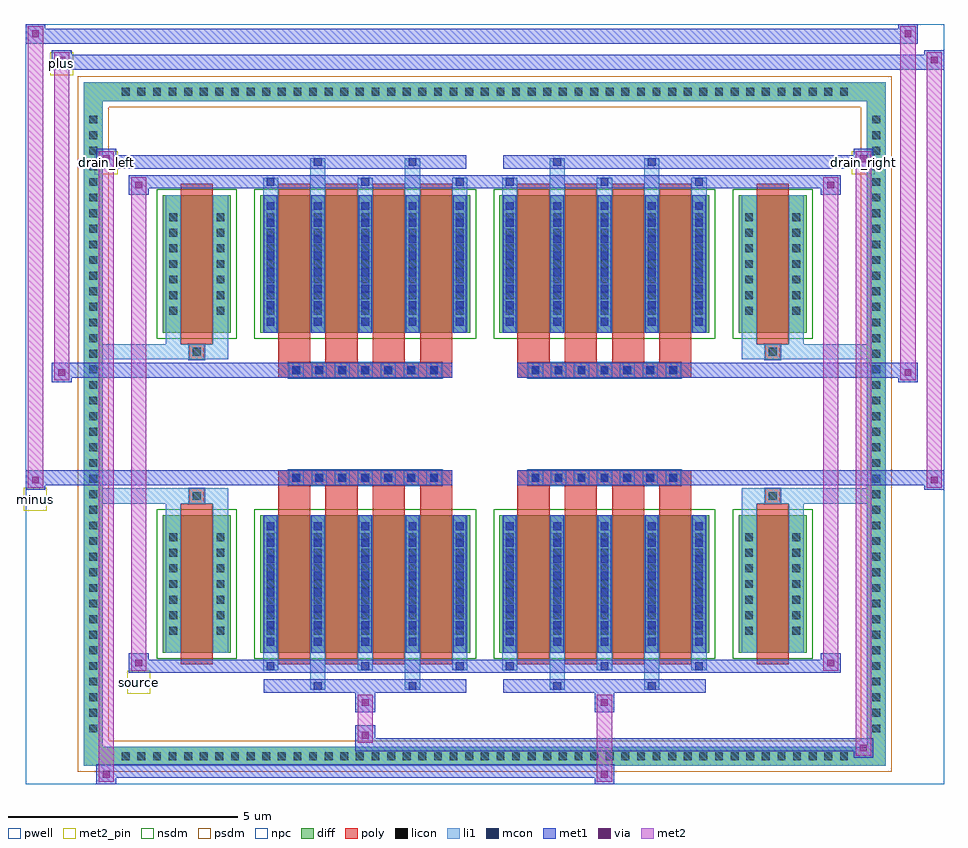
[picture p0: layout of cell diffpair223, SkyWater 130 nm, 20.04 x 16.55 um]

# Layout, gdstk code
import gdstk
lib = gdstk.Library(unit=1e-6, precision=5e-09)
def R(c, l, rs):  # rectangles x0, y0, x1, y1
    for r in rs: c.add(gdstk.rectangle(r[:2], r[2:], *l))
def A(c, l, x, y, w, h, nx, ny, dx, dy):  # array of equal rectangles
    R(c, l, [(x+i*dx, y+j*dy, x+i*dx+w, y+j*dy+h) for i in range(nx) for j in range(ny)])
def P(c, l, *ps):  # polygons
    for p in ps: c.add(gdstk.Polygon(p, *l))
pwell = (64, 44)
diff = (65, 20)
poly = (66, 20)
licon = (66, 44)
li1 = (67, 20)
mcon = (67, 44)
met1 = (68, 20)
via = (68, 44)
met2_pin = (69, 16)
met2 = (69, 20)
nsdm = (93, 44)
psdm = (94, 20)
npc = (95, 20)

diffpair223 = lib.new_cell('diffpair223')
R(diffpair223, pwell, [(-10,-7.84,10,8.71), (-7.32,-6.03,-0.01,-0.805), (0.01,-6.03,7.32,-0.805), (-7.32,0.805,-0.01,6.03), (0.01,0.805,7.32,6.03)])
A(diffpair223, diff, -8.025, -7.44, 0.41, 0.41, 47, 2, 0.34, 14.47)
A(diffpair223, diff, -8.73, -6.835, 0.41, 0.41, 1, 40, 0, 0.34)
A(diffpair223, diff, 8.32, -6.835, 0.41, 0.41, 1, 40, 0, 0.34)
R(diffpair223, diff, [(-8.025,-7.44,8.025,-7.03), (-8.73,-6.835,-8.32,6.835), (8.32,-6.835,8.73,6.835), (-7.01,-4.985,-5.53,-1.985), (-4.89,-4.985,-0.32,-1.985), (0.32,-4.985,4.89,-1.985), (5.53,-4.985,7.01,-1.985), (-7.01,1.985,-5.53,4.985), (-4.89,1.985,-0.32,4.985), (0.32,1.985,4.89,4.985), (5.53,1.985,7.01,4.985), (-8.025,7.03,8.025,7.44)])
P(diffpair223, diff, [(8.73,7.44),(-8.73,7.44),(-8.73,-7.03),(-8.32,-7.03),(-8.32,7.03),(8.32,7.03),(8.32,-7.03),(-8.32,-7.03),(-8.73,-7.03),(-8.73,-7.44),(8.73,-7.44)])
A(diffpair223, poly, -4.5, -5.235, 0.7, 3.5, 4, 2, 1.03, 6.97)
A(diffpair223, poly, 0.71, -5.235, 0.7, 3.5, 4, 2, 1.03, 6.97)
A(diffpair223, poly, -4.5, -1.735, 0.7, 0.4, 4, 2, 1.03, 3.07)
A(diffpair223, poly, 0.71, -1.735, 0.7, 0.4, 4, 2, 1.03, 3.07)
A(diffpair223, poly, -4.27, -1.335, 0.33, 0.33, 7, 2, 0.5, 2.34)
A(diffpair223, poly, 0.94, -1.335, 0.33, 0.33, 7, 2, 0.5, 2.34)
R(diffpair223, poly, [(-6.62,-5.235,-5.92,-1.735), (5.92,-5.235,6.62,-1.735), (-6.435,-1.735,-6.105,-1.405), (-6.435,-1.735,-6.105,-1.405), (6.105,-1.735,6.435,-1.405), (6.105,-1.735,6.435,-1.405), (-4.5,-1.335,-0.71,-1.005), (0.71,-1.335,4.5,-1.005), (-4.5,1.005,-0.71,1.335), (0.71,1.005,4.5,1.335), (-6.435,1.405,-6.105,1.735), (-6.435,1.405,-6.105,1.735), (6.105,1.405,6.435,1.735), (6.105,1.405,6.435,1.735), (-6.62,1.735,-5.92,5.235), (5.92,1.735,6.62,5.235)])
A(diffpair223, licon, -7.905, -7.32, 0.17, 0.17, 47, 2, 0.34, 14.47)
A(diffpair223, licon, -8.61, -6.715, 0.17, 0.17, 1, 40, 0, 0.34)
A(diffpair223, licon, 8.44, -6.715, 0.17, 0.17, 1, 40, 0, 0.34)
A(diffpair223, licon, -6.87, -4.59, 0.17, 0.17, 1, 7, 0, 0.34)
A(diffpair223, licon, -5.84, -4.59, 0.17, 0.17, 1, 7, 0, 0.34)
A(diffpair223, licon, -4.75, -4.59, 0.17, 0.17, 5, 7, 1.03, 0.34)
A(diffpair223, licon, 0.46, -4.59, 0.17, 0.17, 5, 7, 1.03, 0.34)
A(diffpair223, licon, 5.67, -4.59, 0.17, 0.17, 1, 7, 0, 0.34)
A(diffpair223, licon, 6.7, -4.59, 0.17, 0.17, 1, 7, 0, 0.34)
A(diffpair223, licon, -4.19, -1.255, 0.17, 0.17, 7, 2, 0.5, 2.34)
A(diffpair223, licon, 1.02, -1.255, 0.17, 0.17, 7, 2, 0.5, 2.34)
A(diffpair223, licon, -6.87, 2.38, 0.17, 0.17, 1, 7, 0, 0.34)
A(diffpair223, licon, -5.84, 2.38, 0.17, 0.17, 1, 7, 0, 0.34)
A(diffpair223, licon, -4.75, 2.38, 0.17, 0.17, 5, 7, 1.03, 0.34)
A(diffpair223, licon, 0.46, 2.38, 0.17, 0.17, 5, 7, 1.03, 0.34)
A(diffpair223, licon, 5.67, 2.38, 0.17, 0.17, 1, 7, 0, 0.34)
A(diffpair223, licon, 6.7, 2.38, 0.17, 0.17, 1, 7, 0, 0.34)
R(diffpair223, licon, [(-6.355,-1.655,-6.185,-1.485), (6.185,-1.655,6.355,-1.485), (-6.355,1.485,-6.185,1.655), (6.185,1.485,6.355,1.655)])
A(diffpair223, li1, -7.985, -7.4, 0.33, 0.33, 47, 2, 0.34, 14.47)
A(diffpair223, li1, -8.69, -6.795, 0.33, 0.33, 1, 40, 0, 0.34)
A(diffpair223, li1, 8.36, -6.795, 0.33, 0.33, 1, 40, 0, 0.34)
A(diffpair223, li1, -4.83, -5.36, 0.33, 0.375, 3, 2, 2.06, 10.345)
A(diffpair223, li1, -4.75, -5.36, 0.17, 0.17, 3, 2, 2.06, 10.55)
A(diffpair223, li1, 0.38, -5.36, 0.33, 0.375, 3, 2, 2.06, 10.345)
A(diffpair223, li1, 0.46, -5.36, 0.17, 0.17, 3, 2, 2.06, 10.55)
A(diffpair223, li1, -4.83, -4.985, 0.33, 3, 5, 2, 1.03, 6.97)
A(diffpair223, li1, 0.38, -4.985, 0.33, 3, 5, 2, 1.03, 6.97)
A(diffpair223, li1, -4.75, -4.83, 0.17, 0.17, 5, 8, 1.03, 0.36)
A(diffpair223, li1, -4.75, -4.83, 0.17, 2.69, 5, 2, 1.03, 6.97)
A(diffpair223, li1, 0.46, -4.83, 0.17, 0.17, 5, 8, 1.03, 0.36)
A(diffpair223, li1, 0.46, -4.83, 0.17, 2.69, 5, 2, 1.03, 6.97)
A(diffpair223, li1, -6.95, -4.67, 0.33, 0.33, 1, 7, 0, 0.34)
A(diffpair223, li1, -5.92, -4.67, 0.33, 0.33, 1, 7, 0, 0.34)
A(diffpair223, li1, -4.83, -4.67, 0.33, 0.33, 5, 7, 1.03, 0.34)
A(diffpair223, li1, 0.38, -4.67, 0.33, 0.33, 5, 7, 1.03, 0.34)
A(diffpair223, li1, 5.59, -4.67, 0.33, 0.33, 1, 7, 0, 0.34)
A(diffpair223, li1, 6.62, -4.67, 0.33, 0.33, 1, 7, 0, 0.34)
A(diffpair223, li1, -4.27, -1.335, 0.33, 0.33, 7, 2, 0.5, 2.34)
A(diffpair223, li1, 0.94, -1.335, 0.33, 0.33, 7, 2, 0.5, 2.34)
A(diffpair223, li1, -4.75, 2.14, 0.17, 0.17, 5, 8, 1.03, 0.36)
A(diffpair223, li1, 0.46, 2.14, 0.17, 0.17, 5, 8, 1.03, 0.36)
A(diffpair223, li1, -6.95, 2.3, 0.33, 0.33, 1, 7, 0, 0.34)
A(diffpair223, li1, -5.92, 2.3, 0.33, 0.33, 1, 7, 0, 0.34)
A(diffpair223, li1, -4.83, 2.3, 0.33, 0.33, 5, 7, 1.03, 0.34)
A(diffpair223, li1, 0.38, 2.3, 0.33, 0.33, 5, 7, 1.03, 0.34)
A(diffpair223, li1, 5.59, 2.3, 0.33, 0.33, 1, 7, 0, 0.34)
A(diffpair223, li1, 6.62, 2.3, 0.33, 0.33, 1, 7, 0, 0.34)
R(diffpair223, li1, [(-8.73,-7.44,-8.32,-7.03), (-8.73,-7.44,-8.32,-7.03), (-8.32,-7.44,8.32,-7.03), (8.32,-7.44,8.73,-7.03), (8.32,-7.44,8.73,-7.03), (-8.73,-7.03,-8.32,7.03), (8.32,-7.03,8.73,7.03), (-3.8,-5.79,-3.47,-4.985), (-3.72,-5.79,-3.55,-5.62), (-1.74,-5.79,-1.41,-4.985), (-1.66,-5.79,-1.49,-5.62), (1.41,-5.79,1.74,-4.985), (1.49,-5.79,1.66,-5.62), (3.47,-5.79,3.8,-4.985), (3.55,-5.79,3.72,-5.62), (-6.95,-4.985,-6.62,-1.985), (-5.92,-4.985,-5.59,-1.985), (5.59,-4.985,5.92,-1.985), (6.62,-4.985,6.95,-1.985), (-6.95,-1.985,-6.62,-1.405), (-5.92,-1.985,-5.59,-1.405), (5.59,-1.985,5.92,-1.405), (6.62,-1.985,6.95,-1.405), (-8.73,-1.735,-6.435,-1.405), (-6.95,-1.735,-6.435,-1.405), (-6.435,-1.735,-6.105,-1.405), (-6.105,-1.735,-5.59,-1.405), (5.59,-1.735,6.105,-1.405), (6.105,-1.735,6.435,-1.405), (6.105,-1.735,8.73,-1.405), (6.435,-1.735,6.95,-1.405), (-8.73,1.405,-6.435,1.735), (-6.95,1.405,-6.435,1.735), (-6.95,1.405,-6.62,1.985), (-6.435,1.405,-6.105,1.735), (-6.105,1.405,-5.59,1.735), (-5.92,1.405,-5.59,1.985), (5.59,1.405,6.105,1.735), (5.59,1.405,5.92,1.985), (6.105,1.405,6.435,1.735), (6.105,1.405,8.73,1.735), (6.435,1.405,6.95,1.735), (6.62,1.405,6.95,1.985), (-6.95,1.985,-6.62,4.985), (-5.92,1.985,-5.59,4.985), (5.59,1.985,5.92,4.985), (6.62,1.985,6.95,4.985), (-3.8,4.985,-3.47,5.79), (-1.74,4.985,-1.41,5.79), (1.41,4.985,1.74,5.79), (3.47,4.985,3.8,5.79), (-3.72,5.62,-3.55,5.79), (-1.66,5.62,-1.49,5.79), (1.49,5.62,1.66,5.79), (3.55,5.62,3.72,5.79), (-8.73,7.03,-8.32,7.44), (-8.73,7.03,-8.32,7.44), (-8.32,7.03,8.32,7.44), (8.32,7.03,8.73,7.44), (8.32,7.03,8.73,7.44)])
A(diffpair223, mcon, -4.75, -5.36, 0.17, 0.17, 3, 2, 2.06, 10.55)
A(diffpair223, mcon, 0.46, -5.36, 0.17, 0.17, 3, 2, 2.06, 10.55)
A(diffpair223, mcon, -4.75, -4.83, 0.17, 0.17, 5, 8, 1.03, 0.36)
A(diffpair223, mcon, 0.46, -4.83, 0.17, 0.17, 5, 8, 1.03, 0.36)
A(diffpair223, mcon, -4.19, -1.255, 0.17, 0.17, 7, 2, 0.5, 2.34)
A(diffpair223, mcon, 1.02, -1.255, 0.17, 0.17, 7, 2, 0.5, 2.34)
A(diffpair223, mcon, -4.75, 2.14, 0.17, 0.17, 5, 8, 1.03, 0.36)
A(diffpair223, mcon, 0.46, 2.14, 0.17, 0.17, 5, 8, 1.03, 0.36)
R(diffpair223, mcon, [(-3.72,-5.79,-3.55,-5.62), (-1.66,-5.79,-1.49,-5.62), (1.49,-5.79,1.66,-5.62), (3.55,-5.79,3.72,-5.62), (-3.72,5.62,-3.55,5.79), (-1.66,5.62,-1.49,5.79), (1.49,5.62,1.66,5.79), (3.55,5.62,3.72,5.79)])
A(diffpair223, met1, -4.81, -5.42, 0.29, 0.29, 3, 2, 2.06, 10.55)
A(diffpair223, met1, 0.4, -5.42, 0.29, 0.29, 3, 2, 2.06, 10.55)
A(diffpair223, met1, -4.81, -4.985, 0.29, 3, 5, 2, 1.03, 6.97)
A(diffpair223, met1, 0.4, -4.985, 0.29, 3, 5, 2, 1.03, 6.97)
A(diffpair223, met1, -4.81, -4.89, 0.29, 0.29, 5, 8, 1.03, 0.36)
A(diffpair223, met1, 0.4, -4.89, 0.29, 0.29, 5, 8, 1.03, 0.36)
A(diffpair223, met1, -4.25, -1.315, 0.29, 0.29, 7, 2, 0.5, 2.34)
A(diffpair223, met1, 0.96, -1.315, 0.29, 0.29, 7, 2, 0.5, 2.34)
A(diffpair223, met1, -4.81, 2.08, 0.29, 0.29, 5, 8, 1.03, 0.36)
A(diffpair223, met1, 0.4, 2.08, 0.29, 0.29, 5, 8, 1.03, 0.36)
R(diffpair223, met1, [(-8.46,-7.84,-8.03,-7.41), (2.39,-7.84,2.82,-7.41), (-8.46,-7.7,2.82,-7.41), (8.03,-7.27,8.46,-6.84), (-2.82,-7.13,8.46,-6.84), (-2.82,-6.99,-2.39,-6.56), (-2.82,-6.28,-2.39,-5.85), (2.39,-6.28,2.82,-5.85), (-4.81,-5.85,-0.4,-5.56), (-3.78,-5.85,-3.49,-5.56), (-1.72,-5.85,-1.43,-5.56), (0.4,-5.85,4.81,-5.56), (1.43,-5.85,1.72,-5.56), (3.49,-5.85,3.78,-5.56), (-7.75,-5.42,-7.32,-4.99), (-7.75,-5.42,-4.81,-5.13), (-4.81,-5.42,-0.4,-5.13), (-0.4,-5.42,0.4,-5.13), (0.4,-5.42,4.81,-5.13), (4.81,-5.42,7.75,-5.13), (7.32,-5.42,7.75,-4.99), (-10,-1.435,-9.57,-1.005), (9.57,-1.435,10,-1.005), (-10,-1.335,-0.71,-1.005), (-4.5,-1.335,-0.71,-1.005), (0.71,-1.335,4.5,-1.005), (0.71,-1.335,10,-1.005), (-9.43,0.905,-9,1.335), (9,0.905,9.43,1.335), (-9.43,1.005,-4.5,1.335), (-4.5,1.005,-0.71,1.335), (0.71,1.005,4.5,1.335), (4.5,1.005,9.43,1.335), (-7.75,4.99,-7.32,5.42), (7.32,4.99,7.75,5.42), (-7.75,5.13,-4.81,5.42), (-4.81,5.13,-0.4,5.42), (-0.4,5.13,0.4,5.42), (0.4,5.13,4.81,5.42), (4.81,5.13,7.75,5.42), (-8.46,5.56,-8.03,5.99), (-8.46,5.56,-4.81,5.85), (-4.81,5.56,-0.4,5.85), (-3.78,5.56,-3.49,5.85), (-1.72,5.56,-1.43,5.85), (0.4,5.56,4.81,5.85), (1.43,5.56,1.72,5.85), (3.49,5.56,3.78,5.85), (4.81,5.56,8.46,5.85), (8.03,5.56,8.46,5.99), (-9.43,7.71,-9,8.14), (-9.43,7.71,-7.32,8.04), (-7.32,7.71,7.32,8.04), (7.32,7.71,10,8.04), (9.57,7.71,10,8.14), (-10,8.28,-9.57,8.71), (-10,8.28,-7.32,8.61), (-7.32,8.28,7.32,8.61), (7.32,8.28,9.43,8.61), (9,8.28,9.43,8.71)])
R(diffpair223, via, [(-8.32,-7.7,-8.17,-7.55), (2.53,-7.7,2.68,-7.55), (8.17,-7.13,8.32,-6.98), (-2.68,-6.85,-2.53,-6.7), (-2.68,-6.14,-2.53,-5.99), (2.53,-6.14,2.68,-5.99), (-7.61,-5.28,-7.46,-5.13), (7.46,-5.28,7.61,-5.13), (-9.86,-1.295,-9.71,-1.145), (9.71,-1.295,9.86,-1.145), (-9.29,1.045,-9.14,1.195), (9.14,1.045,9.29,1.195), (-7.61,5.13,-7.46,5.28), (7.46,5.13,7.61,5.28), (-8.32,5.7,-8.17,5.85), (8.17,5.7,8.32,5.85), (-9.29,7.85,-9.14,8), (9.71,7.85,9.86,8), (-9.86,8.42,-9.71,8.57), (9.14,8.42,9.29,8.57)])
R(diffpair223, met2_pin, [(-7.785,-5.87,-7.285,-5.37), (-10.035,-1.885,-9.535,-1.385), (-8.495,5.44,-7.995,5.94), (7.995,5.44,8.495,5.94), (-9.465,7.59,-8.965,8.09)])
R(diffpair223, met2, [(-8.41,-7.79,-8.08,-7.46), (-8.41,-7.79,-8.08,5.94), (2.44,-7.79,2.77,-7.46), (2.44,-7.46,2.77,-6.23), (8.08,-7.22,8.41,-6.89), (8.08,-7.22,8.41,5.94), (-2.77,-6.94,-2.44,-6.61), (-2.77,-6.61,-2.44,-6.23), (-2.77,-6.23,-2.44,-5.9), (2.44,-6.23,2.77,-5.9), (-7.7,-5.37,-7.37,-5.04), (-7.7,-5.37,-7.37,5.37), (7.37,-5.37,7.7,-5.04), (7.37,-5.37,7.7,5.37), (-9.95,-1.385,-9.62,-1.055), (-9.95,-1.385,-9.62,8.66), (9.62,-1.385,9.95,-1.055), (9.62,-1.385,9.95,8.09), (-9.38,0.955,-9.05,1.285), (-9.38,0.955,-9.05,8.09), (9.05,0.955,9.38,1.285), (9.05,0.955,9.38,8.66), (-7.7,5.04,-7.37,5.37), (7.37,5.04,7.7,5.37), (-8.41,5.61,-8.08,5.94), (8.08,5.61,8.41,5.94), (-9.38,7.76,-9.05,8.09), (9.62,7.76,9.95,8.09), (-9.95,8.33,-9.62,8.66), (9.05,8.33,9.38,8.66)])
P(diffpair223, met2, [(9.95,-1.385),(9.95,-1.385),(9.95,-1.055),(9.95,-1.055)],
  [(9.95,7.76),(9.95,7.76),(9.95,8.09),(9.95,8.09)],
  [(-9.62,-1.385),(-9.62,-1.385),(-9.62,-1.055),(-9.62,-1.055)],
  [(-9.62,8.33),(-9.62,8.33),(-9.62,8.66),(-9.62,8.66)],
  [(9.38,0.955),(9.38,0.955),(9.38,1.285),(9.38,1.285)],
  [(9.38,8.33),(9.38,8.33),(9.38,8.66),(9.38,8.66)],
  [(-9.05,0.955),(-9.05,0.955),(-9.05,1.285),(-9.05,1.285)],
  [(-9.05,7.76),(-9.05,7.76),(-9.05,8.09),(-9.05,8.09)],
  [(-8.08,-7.79),(-8.08,-7.79),(-8.08,-7.46),(-8.08,-7.46)],
  [(-8.08,5.61),(-8.08,5.61),(-8.08,5.94),(-8.08,5.94)],
  [(8.41,-7.22),(8.41,-7.22),(8.41,-6.89),(8.41,-6.89)],
  [(8.41,5.61),(8.41,5.61),(8.41,5.94),(8.41,5.94)],
  [(-7.37,-5.37),(-7.37,-5.37),(-7.37,-5.04),(-7.37,-5.04)],
  [(-7.37,5.04),(-7.37,5.04),(-7.37,5.37),(-7.37,5.37)],
  [(7.7,-5.37),(7.7,-5.37),(7.7,-5.04),(7.7,-5.04)],
  [(7.7,5.04),(7.7,5.04),(7.7,5.37),(7.7,5.37)])
R(diffpair223, nsdm, [(-7.14,-5.115,-5.4,-1.855), (-5.02,-5.115,-0.19,-1.855), (0.19,-5.115,5.02,-1.855), (5.4,-5.115,7.14,-1.855), (-7.14,1.855,-5.4,5.115), (-5.02,1.855,-0.19,5.115), (0.19,1.855,5.02,5.115), (5.4,1.855,7.14,5.115)])
P(diffpair223, psdm, [(8.86,7.57),(-8.86,7.57),(-8.86,-6.9),(-8.19,-6.9),(-8.19,6.9),(8.19,6.9),(8.19,-6.9),(-8.19,-6.9),(-8.86,-6.9),(-8.86,-7.57),(8.86,-7.57)])
A(diffpair223, npc, -4.29, -1.355, 0.37, 0.37, 7, 2, 0.5, 2.34)
A(diffpair223, npc, 0.92, -1.355, 0.37, 0.37, 7, 2, 0.5, 2.34)
R(diffpair223, npc, [(-6.455,-1.755,-6.085,-1.385), (6.085,-1.755,6.455,-1.385), (-4.29,-1.355,-3.42,-0.985), (-4.29,-1.355,-3.42,-0.985), (-3.79,-1.355,-2.92,-0.985), (-3.79,-1.355,-2.92,-0.985), (-3.29,-1.355,-2.42,-0.985), (-3.29,-1.355,-2.42,-0.985), (-2.79,-1.355,-1.92,-0.985), (-2.79,-1.355,-1.92,-0.985), (-2.29,-1.355,-1.42,-0.985), (-2.29,-1.355,-1.42,-0.985), (-1.79,-1.355,-0.92,-0.985), (-1.79,-1.355,-0.92,-0.985), (0.92,-1.355,1.79,-0.985), (0.92,-1.355,1.79,-0.985), (1.42,-1.355,2.29,-0.985), (1.42,-1.355,2.29,-0.985), (1.92,-1.355,2.79,-0.985), (1.92,-1.355,2.79,-0.985), (2.42,-1.355,3.29,-0.985), (2.42,-1.355,3.29,-0.985), (2.92,-1.355,3.79,-0.985), (2.92,-1.355,3.79,-0.985), (3.42,-1.355,4.29,-0.985), (3.42,-1.355,4.29,-0.985), (-4.29,0.985,-3.42,1.355), (-4.29,0.985,-3.42,1.355), (-3.79,0.985,-2.92,1.355), (-3.79,0.985,-2.92,1.355), (-3.29,0.985,-2.42,1.355), (-3.29,0.985,-2.42,1.355), (-2.79,0.985,-1.92,1.355), (-2.79,0.985,-1.92,1.355), (-2.29,0.985,-1.42,1.355), (-2.29,0.985,-1.42,1.355), (-1.79,0.985,-0.92,1.355), (-1.79,0.985,-0.92,1.355), (0.92,0.985,1.79,1.355), (0.92,0.985,1.79,1.355), (1.42,0.985,2.29,1.355), (1.42,0.985,2.29,1.355), (1.92,0.985,2.79,1.355), (1.92,0.985,2.79,1.355), (2.42,0.985,3.29,1.355), (2.42,0.985,3.29,1.355), (2.92,0.985,3.79,1.355), (2.92,0.985,3.79,1.355), (3.42,0.985,4.29,1.355), (3.42,0.985,4.29,1.355), (-6.455,1.385,-6.085,1.755), (6.085,1.385,6.455,1.755)])
diffpair223.add(gdstk.Label('minus', (-9.785,-1.635), layer=69, texttype=5))
diffpair223.add(gdstk.Label('drain_right', (8.245,5.69), layer=69, texttype=5))
diffpair223.add(gdstk.Label('drain_left', (-8.245,5.69), layer=69, texttype=5))
diffpair223.add(gdstk.Label('source', (-7.535,-5.62), layer=69, texttype=5))
diffpair223.add(gdstk.Label('plus', (-9.215,7.84), layer=69, texttype=5))

lib.write_gds('diffpair223.gds')
